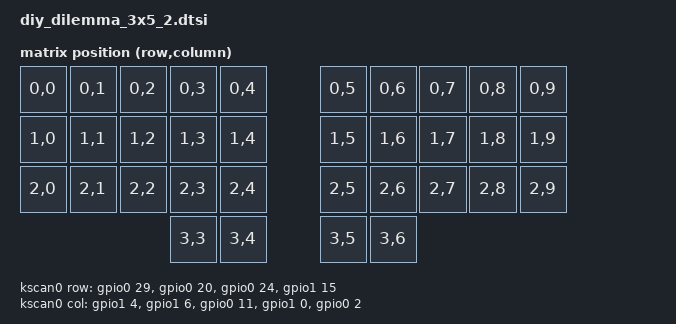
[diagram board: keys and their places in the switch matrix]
/*
 * Copyright (c) 2023 The ZMK Contributors
 *
 * SPDX-License-Identifier: MIT
 */

#include <dt-bindings/zmk/matrix_transform.h>

/ {
    chosen {
        zmk,kscan = &kscan0;
        zmk,matrix_transform = &default_transform;
    };

    default_transform: keymap_transform_0 {
        compatible = "zmk,matrix-transform";
        columns = <10>;
        rows = <4>;
        map = <
            RC(0,0) RC(0,1) RC(0,2) RC(0,3) RC(0,4)    RC(0,5) RC(0,6) RC(0,7) RC(0,8) RC(0,9)
            RC(1,0) RC(1,1) RC(1,2) RC(1,3) RC(1,4)    RC(1,5) RC(1,6) RC(1,7) RC(1,8) RC(1,9)
            RC(2,0) RC(2,1) RC(2,2) RC(2,3) RC(2,4)    RC(2,5) RC(2,6) RC(2,7) RC(2,8) RC(2,9)
                                    RC(3,3) RC(3,4)    RC(3,5) RC(3,6)
        >;
    };

    kscan0: kscan {
        compatible = "zmk,kscan-gpio-matrix";
        label = "KSCAN";

        diode-direction = "col2row";
        row-gpios
            = <&gpio0 29 (GPIO_ACTIVE_HIGH | GPIO_PULL_DOWN)>   // Row 0 - P0.29 (R1 on PCB)
            , <&gpio0 20 (GPIO_ACTIVE_HIGH | GPIO_PULL_DOWN)>   // Row 1 - P0.20 (R2 on PCB)
            , <&gpio0 24 (GPIO_ACTIVE_HIGH | GPIO_PULL_DOWN)>   // Row 2 - P0.24 (R3 on PCB)
            , <&gpio1 15 (GPIO_ACTIVE_HIGH | GPIO_PULL_DOWN)>   // Row 3 - P1.15 (R4/thumb cluster)
            ;
        col-gpios
            = <&gpio1 4 GPIO_ACTIVE_HIGH>    // Col 0 - P1.04 (C2 on PCB)
            , <&gpio1 6 GPIO_ACTIVE_HIGH>    // Col 1 - P1.06 (C3 on PCB)
            , <&gpio0 11 GPIO_ACTIVE_HIGH>   // Col 2 - P0.11 (C4 on PCB)
            , <&gpio1 0 GPIO_ACTIVE_HIGH>    // Col 3 - P1.00 (C5 on PCB)
            , <&gpio0 2 GPIO_ACTIVE_HIGH>    // Col 4 - P0.02 (C6 on PCB)
            ;
    };

    // Encoders completely disabled to avoid pin conflicts
    // left_encoder: encoder_left {
    //     compatible = "alps,ec11";
    //     label = "LEFT_ENCODER";
    //     a-gpios = <&pro_micro 20 (GPIO_ACTIVE_HIGH | GPIO_PULL_UP)>;
    //     b-gpios = <&pro_micro 21 (GPIO_ACTIVE_HIGH | GPIO_PULL_UP)>;
    //     steps = <80>;
    //     status = "disabled";
    // };

    // right_encoder: encoder_right {
    //     compatible = "alps,ec11";
    //     label = "RIGHT_ENCODER";
    //     a-gpios = <&pro_micro 20 (GPIO_ACTIVE_HIGH | GPIO_PULL_UP)>;
    //     b-gpios = <&pro_micro 21 (GPIO_ACTIVE_HIGH | GPIO_PULL_UP)>;
    //     steps = <80>;
    //     status = "disabled";
    // };

    // Sensors completely disabled - no encoders
    // sensors {
    //     compatible = "zmk,keymap-sensors";
    //     sensors = <&left_encoder &right_encoder>;
    //     triggers-per-rotation = <20>;
    // };
};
